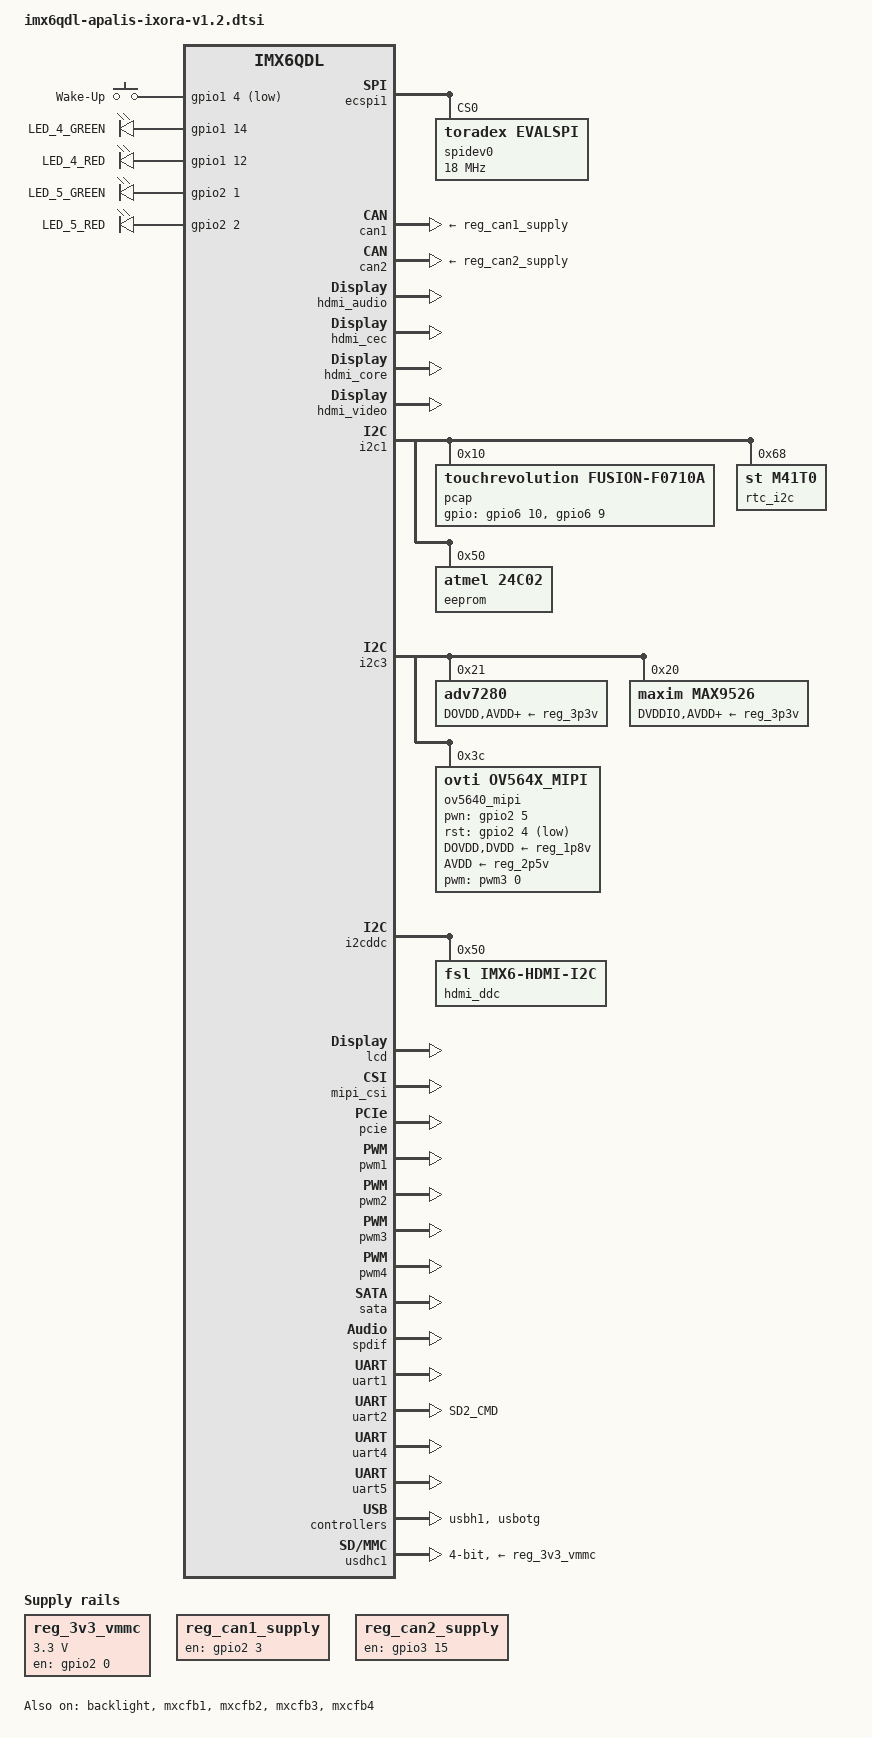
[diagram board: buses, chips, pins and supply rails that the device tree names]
/*
 * Copyright 2014-2017 Toradex AG
 * Copyright 2012 Freescale Semiconductor, Inc.
 * Copyright 2011 Linaro Ltd.
 *
 * The code contained herein is licensed under the GNU General Public
 * License. You may obtain a copy of the GNU General Public License
 * Version 2 or later at the following locations:
 *
 * http://www.opensource.org/licenses/gpl-license.html
 * http://www.gnu.org/copyleft/gpl.html
 */

#include <dt-bindings/input/input.h>

/ {
	aliases {
		i2c0 = &i2cddc;
		i2c1 = &i2c1;
		i2c2 = &i2c2;
		i2c3 = &i2c3;
	};

	aliases {
		/* the following, together with kernel patches, forces a fixed assignment
		   between device id and usdhc controller */
		/* i.e. the eMMC on usdhc3 will be /dev/mmcblk0 */
		mmc0 = &usdhc3; /* eMMC */
		mmc1 = &usdhc1; /* MMC1  4bit slot */
	};

	aliases {
		rtc0 = &rtc_i2c;
		rtc1 = &snvs_rtc;
	};

	gpio-keys {
		compatible = "gpio-keys";
		pinctrl-names = "default";
		pinctrl-0 = <&pinctrl_gpio_keys>;

		wakeup {
			label = "Wake-Up";
			gpios = <&gpio1 4 GPIO_ACTIVE_LOW>;
			linux,code = <KEY_WAKEUP>;
			debounce-interval = <10>;
			gpio-key,wakeup;
		};
	};

	leds {
		compatible = "gpio-leds";

		pinctrl-names = "default";
		pinctrl-0 = <&pinctrl_leds_ixora>;

		led4-green {
			label = "LED_4_GREEN";
			gpios = <&gpio1 14 GPIO_ACTIVE_HIGH>;
		};

		led4-red {
			label = "LED_4_RED";
			gpios = <&gpio1 12 GPIO_ACTIVE_HIGH>;
		};

		led5-green {
			label = "LED_5_GREEN";
			gpios = <&gpio2 1 GPIO_ACTIVE_HIGH>;
		};

		led5-red {
			label = "LED_5_RED";
			gpios = <&gpio2 2 GPIO_ACTIVE_HIGH>;
		};
	};

	v4l2_cap_0 {
		compatible = "fsl,imx6q-v4l2-capture";
		ipu_id = <0>;
		csi_id = <0>;
		mclk_source = <0>;
		status = "okay";
	};

	v4l2_cap_2 { // mipi-csi2 camera
		compatible = "fsl,imx6q-v4l2-capture";
		ipu_id = <0>;
		csi_id = <1>;
		mclk_source = <0>;
		status = "okay";
	};

#if 0
	v4l2_out {
		compatible = "fsl,mxc_v4l2_output";
		status = "okay";
	};
#endif

	reg_3v3_vmmc: regulator-3v3-vmmc {
		compatible = "regulator-fixed";
		pinctrl-names = "default";
		pinctrl-0 = <&pinctrl_enable_3v3_vmmc>;
		regulator-name = "3v3_vmmc";
		regulator-min-microvolt = <3300000>;
		regulator-max-microvolt = <3300000>;
		gpio = <&gpio2 0 GPIO_ACTIVE_HIGH>;
		startup-delay-us = <100>;
		enable-active-high;
	};

	reg_can1_supply: regulator-can1-supply {
		compatible = "regulator-fixed";
		pinctrl-names = "default";
		pinctrl-0 = <&pinctrl_enable_can1_power>;
		regulator-name = "can1_supply";
		gpio = <&gpio2 3 GPIO_ACTIVE_HIGH>;
		enable-active-high;
	};

	reg_can2_supply: regulator-can2-supply {
		compatible = "regulator-fixed";
		pinctrl-names = "default";
		pinctrl-0 = <&pinctrl_enable_can2_power>;
		regulator-name = "can2_supply";
		gpio = <&gpio3 15 GPIO_ACTIVE_HIGH>;
		enable-active-high;
	};
};

&backlight {
#if 0 /* PWM polarity: if 1 is brightest */
	pwms = <&pwm4 0 5000000 0>;
#if 0 /* Fusion 7 needs 10kHz PWM frequency */
	pwms = <&pwm4 0 100000 0>;
#endif
#else /* PWM polarity: if 0 is brightest */
	pwms = <&pwm4 0 5000000 1>;
#endif
	brightness-levels = <0 4 8 16 32 64 128 255>;
	default-brightness-level = <6>;
	status = "okay";
};

/* Apalis SPI1 */
&ecspi1 {
	status = "okay";

	spidev0: spidev@1 {
		compatible = "toradex,evalspi";
		reg = <0>;
		spi-max-frequency = <18000000>;
	};
};

&can1 {
	status = "okay";
	xceiver-supply = <&reg_can1_supply>;
};

&can2 {
	status = "okay";
	xceiver-supply = <&reg_can2_supply>;
};

&hdmi_audio {
	status = "okay";
};

&hdmi_cec {
	status = "okay";
};

&hdmi_core {
	status = "okay";
};

&hdmi_video {
	status = "okay";
};

/*
 * GEN1_I2C: I2C1_SDA/SCL on MXM3 209/211 (e.g. RTC on carrier
 * board)
 */
&i2c1 {
	status = "okay";

	/* Atmel maxtouch controller */
	atmel_mxt_ts: atmel_mxt_ts@4a {
		compatible = "atmel,maxtouch";
		reg = <0x4a>;
		interrupt-parent = <&gpio6>;
		interrupts = <10 IRQ_TYPE_EDGE_FALLING>;
		reset-gpios = <&gpio6 9 GPIO_ACTIVE_HIGH>; /* SODIMM 13 */
		status = "disabled";
	};

	pcap@10 {
		/* TouchRevolution Fusion 7 and 10 multi-touch controller */
		compatible = "touchrevolution,fusion-f0710a";
		reg = <0x10>;
		gpios = <&gpio6 10 GPIO_ACTIVE_HIGH /* MXM3 11, Pen down interrupt */
			 &gpio6  9 GPIO_ACTIVE_HIGH /* MXM3 13, Reset */
			>;
	};

	/* M41T0M6 real time clock on carrier board */
	rtc_i2c: rtc@68 {
		compatible = "st,m41t0";
		reg = <0x68>;
	};

	eeprom: eeprom@50 {
		compatible = "atmel,24c02";
		reg = <0x50>;
		pagesize = <16>;
	};
};

/*
 * GEN2_I2C, CAM: I2C3_SDA/SCL on MXM3 201/203 (unused)
 */
&i2c3 {
	status = "okay";

	adv7280: adv7280@21 {
		compatible = "adv7280";
		reg = <0x21>;
		pinctrl-names = "default";
		pinctrl-0 = <&pinctrl_ipu1_csi0 &pinctrl_cam_mclk>;
		clocks = <&clks 200>;
		clock-names = "csi_mclk";
		DOVDD-supply = <&reg_3p3v>;
		AVDD-supply = <&reg_3p3v>;
		DVDD-supply = <&reg_3p3v>;
		PVDD-supply = <&reg_3p3v>;
		csi_id = <0>;
		mclk = <24000000>;
		mclk_source = <1>;
		status = "okay";
	};

	/* Video ADC on Analog Camera Module */
	adv7180: adv7180@21 {
		compatible = "adv,adv7180";
		reg = <0x21>;
		pinctrl-names = "default";
		pinctrl-0 = <&pinctrl_ipu1_csi0 &pinctrl_cam_mclk>;
		clocks = <&clks 200>;
		clock-names = "csi_mclk";
		DOVDD-supply = <&reg_3p3v>; /* 3.3v */
		AVDD-supply = <&reg_3p3v>;  /* 1.8v */
		DVDD-supply = <&reg_3p3v>;  /* 1.8v */
		PVDD-supply = <&reg_3p3v>;  /* 1.8v */
		csi_id = <0>;
		mclk = <24000000>;
		mclk_source = <1>;
		cvbs = <1>;
		status = "disabled";
	};

	max9526: max9526@20 {
		compatible = "maxim,max9526";
		reg = <0x20>;
		pinctrl-names = "default";
		pinctrl-0 = <&pinctrl_ipu1_csi0 &pinctrl_cam_mclk>;
		clocks = <&clks 200>;
		clock-names = "csi_mclk";
		DVDDIO-supply = <&reg_3p3v>; /* 3.3v */
		AVDD-supply = <&reg_3p3v>;  /* 1.8v */
		DVDD-supply = <&reg_3p3v>;  /* 1.8v */
		csi_id = <0>;
		mclk = <24000000>;
		mclk_source = <1>;
		cvbs = <1>;
		status = "okay";
	};

	ov5640_mipi@3c {
		compatible = "ovti,ov564x_mipi";
		reg = <0x3c>;
		clocks = <&clks 147>;
		clock-names = "csi_mclk";
		DOVDD-supply = <&reg_1p8v>;
		AVDD-supply = <&reg_2p5v>;
		DVDD-supply = <&reg_1p8v>;
		pwn-gpios = <&gpio2 5 GPIO_ACTIVE_HIGH>;
		rst-gpios = <&gpio2 4 GPIO_ACTIVE_LOW>;
		ipu_id = <0>;
		csi_id = <1>;
		mclk = <22000000>;
		mclk_source = <0>;
		pwms = <&pwm3 0 45 0>;
		status = "okay";
	};
};

/*
 * DDC_I2C: I2C2_SDA/SCL on MXM3 205/207
 */
&i2cddc {
	status = "okay";

	hdmi_ddc: edid@50 {
		compatible = "fsl,imx6-hdmi-i2c";
		reg = <0x50>;
	};
};

&iomuxc {
	/*
	 * Mux the Apalis GPIOs.
	 * Note:
	 * - GPIO7 is used for PCIe reset
	 * - GPIO5, 6 are used by optional capacitive touch controller
	 */
	pinctrl-names = "default";
	pinctrl-0 = <&pinctrl_apalis_gpio1 &pinctrl_apalis_gpio2
		     &pinctrl_apalis_gpio3 &pinctrl_apalis_gpio4
		     &pinctrl_apalis_gpio5 &pinctrl_apalis_gpio6
		     &pinctrl_apalis_gpio7 &pinctrl_apalis_gpio8>;

	pinctrl_leds_ixora: leds-ixora {
		fsl,pins = <
			MX6QDL_PAD_SD2_DAT1__GPIO1_IO14 PAD_CTRL_HYS_PU
			MX6QDL_PAD_SD2_DAT3__GPIO1_IO12 PAD_CTRL_HYS_PU
			MX6QDL_PAD_NANDF_D1__GPIO2_IO01 PAD_CTRL_HYS_PU
			MX6QDL_PAD_NANDF_D2__GPIO2_IO02 PAD_CTRL_HYS_PU
		>;
	};

	pinctrl_uart24_forceoff: uart24_forceoff {
		fsl,pins = <
			MX6QDL_PAD_SD2_CMD__GPIO1_IO11 PAD_CTRL_HYS_PU
		>;
	};

	pinctrl_enable_3v3_vmmc: enable_3v3_vmmc {
		fsl,pins = <
			MX6QDL_PAD_NANDF_D0__GPIO2_IO00 PAD_CTRL_HYS_PU
		>;
	};

	pinctrl_enable_can1_power: enable_can1_power {
		fsl,pins = <
			MX6QDL_PAD_NANDF_D3__GPIO2_IO03 PAD_CTRL_HYS_PU
		>;
	};

	pinctrl_enable_can2_power: enable_can2_power {
		fsl,pins = <
			MX6QDL_PAD_EIM_DA15__GPIO3_IO15 PAD_CTRL_HYS_PU
		>;
	};

	pinctrl_mmc_cd_sleep: gpiommccdgrpslp {
		fsl,pins = <
			 /* MMC1 CD */
			MX6QDL_PAD_DI0_PIN4__GPIO4_IO20 0x0
		>;
	};

	pinctrl_usdhc1_4bit_sleep: usdhc1grp_4bit_sleep {
		fsl,pins = <
			MX6QDL_PAD_SD1_CMD__SD1_CMD	0x3000
			MX6QDL_PAD_SD1_CLK__SD1_CLK	0x3000
			MX6QDL_PAD_SD1_DAT0__SD1_DATA0	0x3000
			MX6QDL_PAD_SD1_DAT1__SD1_DATA1	0x3000
			MX6QDL_PAD_SD1_DAT2__SD1_DATA2	0x3000
			MX6QDL_PAD_SD1_DAT3__SD1_DATA3	0x3000
		>;
	};
};

&lcd {
	status = "okay";
};

&mipi_csi {
	ipu_id = <0>;
	csi_id = <1>;
	v_channel = <0>;
	lanes = <2>;
	status = "okay";
};

&mxcfb1 {
	status = "okay";
};

&mxcfb2 {
	status = "okay";
};

&mxcfb3 {
	status = "okay";
};

&mxcfb4 {
	status = "okay";
};

&pcie {
	reset-ep-gpio = <&gpio1 28 GPIO_ACTIVE_HIGH>;
	status = "okay";
};

&pwm1 {
	status = "okay";
};

&pwm2 {
	status = "okay";
};

&pwm3 {
	status = "okay";
};

&pwm4 {
	status = "okay";
};

&reg_usb_otg_vbus {
	status = "okay";
};

&reg_usb_host_vbus {
	status = "okay";
};

&sata {
	status = "okay";
};

&sound_hdmi {
	status = "okay";
};

&sound_spdif {
	status = "okay";
};

&spdif {
	status = "okay";
};

&uart1 {
	status = "okay";
};

&uart2 {
	status = "okay";
	pinctrl-names = "default";
	pinctrl-0 = <&pinctrl_uart2_dte &pinctrl_uart24_forceoff>;
#if 0
	linux,rs485-enabled-at-boot-time;
	rs485-rts-active-low;
	rs485-rx-during-tx;
#endif
};

&uart4 {
	status = "okay";
	/*
	 * note that uart4 is only working with pinctrl_uart24_forceoff that is
	 * already defined in &uart2
	 */
};

&uart5 {
	status = "okay";
};

&usbh1 {
	status = "okay";
};

&usbotg {
	status = "okay";
};

/* MMC1 */
&usdhc1 {
	pinctrl-names = "default", "sleep";
	pinctrl-0 = <&pinctrl_usdhc1_4bit &pinctrl_mmc_cd>;
	pinctrl-1 = <&pinctrl_usdhc1_4bit_sleep &pinctrl_mmc_cd_sleep>;
	bus-width = <4>;
	status = "okay";
	cap-power-off-card;
	vmmc-supply = <&reg_3v3_vmmc>;
};
